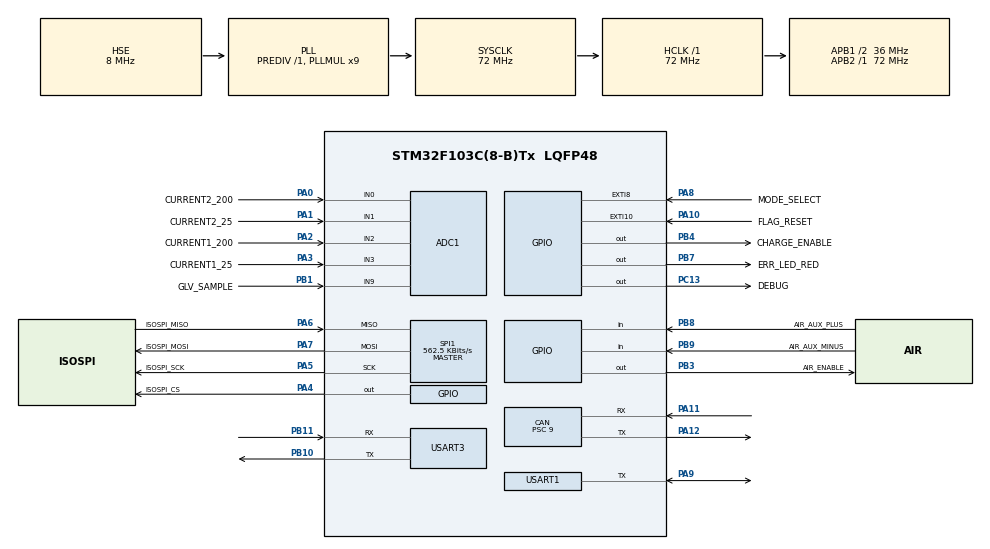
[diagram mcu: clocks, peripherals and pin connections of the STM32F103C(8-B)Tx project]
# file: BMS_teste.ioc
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ADC1.Channel-10\#ChannelRegularConversion=ADC_CHANNEL_0
ADC1.Channel-11\#ChannelRegularConversion=ADC_CHANNEL_1
ADC1.Channel-12\#ChannelRegularConversion=ADC_CHANNEL_2
ADC1.Channel-13\#ChannelRegularConversion=ADC_CHANNEL_3
ADC1.Channel-14\#ChannelRegularConversion=ADC_CHANNEL_9
ADC1.ContinuousConvMode=ENABLE
ADC1.DataAlign=ADC_DATAALIGN_RIGHT
ADC1.DiscontinuousConvMode=DISABLE
ADC1.EnableAnalogWatchDog=false
ADC1.EnableRegularConversion=ENABLE
ADC1.ExternalTrigConv=ADC_SOFTWARE_START
ADC1.InjNumberOfConversion=0
ADC1.NbrOfConversion=5
ADC1.NbrOfConversionFlag=1
ADC1.Rank-10\#ChannelRegularConversion=1
ADC1.Rank-11\#ChannelRegularConversion=2
ADC1.Rank-12\#ChannelRegularConversion=3
ADC1.Rank-13\#ChannelRegularConversion=4
ADC1.Rank-14\#ChannelRegularConversion=5
ADC1.SamplingTime-10\#ChannelRegularConversion=ADC_SAMPLETIME_239CYCLES_5
ADC1.SamplingTime-11\#ChannelRegularConversion=ADC_SAMPLETIME_239CYCLES_5
ADC1.SamplingTime-12\#ChannelRegularConversion=ADC_SAMPLETIME_239CYCLES_5
ADC1.SamplingTime-13\#ChannelRegularConversion=ADC_SAMPLETIME_239CYCLES_5
ADC1.SamplingTime-14\#ChannelRegularConversion=ADC_SAMPLETIME_239CYCLES_5
ADC1.ScanConvMode=ADC_SCAN_ENABLE
ADC1.master=1
CAN.ABOM=ENABLE
CAN.BS1=CAN_BS1_6TQ
CAN.CalculateTimeBit=2000
CAN.CalculateTimeQuantum=250.0
CAN.Prescaler=9
CAN.SJW=CAN_SJW_1TQ
Dma.ADC1.0.Direction=DMA_PERIPH_TO_MEMORY
Dma.ADC1.0.Instance=DMA1_Channel1
Dma.ADC1.0.MemDataAlignment=DMA_MDATAALIGN_HALFWORD
Dma.ADC1.0.MemInc=DMA_MINC_ENABLE
Dma.ADC1.0.Mode=DMA_CIRCULAR
Dma.ADC1.0.PeriphDataAlignment=DMA_PDATAALIGN_HALFWORD
Dma.ADC1.0.PeriphInc=DMA_PINC_DISABLE
Dma.ADC1.0.Priority=DMA_PRIORITY_LOW
Dma.Request0=ADC1
Dma.Request1=USART3_RX
Dma.USART3_RX.1.Direction=DMA_PERIPH_TO_MEMORY
Dma.USART3_RX.1.Instance=DMA1_Channel3
Dma.USART3_RX.1.MemDataAlignment=DMA_MDATAALIGN_BYTE
Dma.USART3_RX.1.MemInc=DMA_MINC_ENABLE
Dma.USART3_RX.1.Mode=DMA_CIRCULAR
Dma.USART3_RX.1.PeriphDataAlignment=DMA_PDATAALIGN_BYTE
Dma.USART3_RX.1.PeriphInc=DMA_PINC_DISABLE
Dma.USART3_RX.1.Priority=DMA_PRIORITY_LOW
Mcu.Family=STM32F1
Mcu.Name=STM32F103C(8-B)Tx
Mcu.Package=LQFP48
Mcu.UserConstants=__DLC__,8
NVIC.DMA1_Channel1_IRQn=true\:0\:0\:false\:false\:true\:false
NVIC.DMA1_Channel3_IRQn=true\:0\:0\:false\:false\:true\:false
NVIC.EXTI15_10_IRQn=true\:0\:0\:false\:false\:true\:true
NVIC.EXTI9_5_IRQn=true\:0\:0\:false\:false\:true\:true
NVIC.PriorityGroup=NVIC_PRIORITYGROUP_4
NVIC.TIM3_IRQn=true\:0\:0\:false\:false\:true\:true
NVIC.TIM4_IRQn=true\:0\:0\:false\:false\:true\:true
NVIC.USART3_IRQn=true\:0\:0\:false\:false\:true\:true
NVIC.USB_HP_CAN1_TX_IRQn=true\:0\:0\:false\:false\:true\:true
NVIC.USB_LP_CAN1_RX0_IRQn=true\:0\:0\:false\:false\:true\:true
PA0-WKUP.GPIO_Label=CURRENT2_200
PA0-WKUP.Signal=ADCx_IN0
PA1.GPIO_Label=CURRENT2_25
PA1.Signal=ADCx_IN1
PA10.GPIO_Label=FLAG_RESET
PA10.Signal=GPXTI10
PA11.Mode=Master
PA11.Signal=CAN_RX
PA12.Mode=Master
PA12.Signal=CAN_TX
PA13.Mode=Serial_Wire
PA13.Signal=SYS_JTMS-SWDIO
PA14.Mode=Serial_Wire
PA14.Signal=SYS_JTCK-SWCLK
PA2.GPIO_Label=CURRENT1_200
PA2.Signal=ADCx_IN2
PA3.GPIO_Label=CURRENT1_25
PA3.Signal=ADCx_IN3
PA4.GPIO_Label=ISOSPI_CS
PA4.GPIO_ModeDefaultOutputPP=GPIO_MODE_OUTPUT_PP
PA4.GPIO_Speed=GPIO_SPEED_FREQ_LOW
PA4.PinState=GPIO_PIN_RESET
PA4.Signal=GPIO_Output
PA5.GPIO_Label=ISOSPI_SCK
PA5.Mode=Full_Duplex_Master
PA5.Signal=SPI1_SCK
PA6.GPIO_Label=ISOSPI_MISO
PA6.GPIO_PuPd=GPIO_NOPULL
PA6.Mode=Full_Duplex_Master
PA6.Signal=SPI1_MISO
PA7.GPIO_Label=ISOSPI_MOSI
PA7.Mode=Full_Duplex_Master
PA7.Signal=SPI1_MOSI
PA8.GPIO_Label=MODE_SELECT
PA8.Signal=GPXTI8
PA9.Mode=Half_duplex(single_wire_mode)
PA9.Signal=USART1_TX
PB1.GPIO_Label=GLV_SAMPLE
PB1.Signal=ADCx_IN9
PB10.Mode=Asynchronous
PB10.Signal=USART3_TX
PB11.Mode=Asynchronous
PB11.Signal=USART3_RX
PB3.GPIO_Label=AIR_ENABLE
PB3.Signal=GPIO_Output
PB4.GPIO_Label=CHARGE_ENABLE
PB4.Signal=GPIO_Output
PB7.GPIO_Label=ERR_LED_RED
PB7.Signal=GPIO_Output
PB8.GPIO_Label=AIR_AUX_PLUS
PB8.Signal=GPIO_Input
PB9.GPIO_Label=AIR_AUX_MINUS
PB9.Signal=GPIO_Input
PC13-TAMPER-RTC.GPIO_Label=DEBUG
PC13-TAMPER-RTC.Signal=GPIO_Output
PD0-OSC_IN.GPIO_Label=OSCI
PD0-OSC_IN.Mode=HSE-External-Oscillator
PD0-OSC_IN.Signal=RCC_OSC_IN
PD1-OSC_OUT.GPIO_Label=OSCO
PD1-OSC_OUT.Mode=HSE-External-Oscillator
PD1-OSC_OUT.Signal=RCC_OSC_OUT
ProjectManager.HeapSize=0x200
ProjectManager.StackSize=0x400
ProjectManager.TargetToolchain=SW4STM32
RCC.ADCPresc=RCC_ADCPCLK2_DIV6
RCC.AHBFreq_Value=72000000
RCC.APB1CLKDivider=RCC_HCLK_DIV2
RCC.APB1Freq_Value=36000000
RCC.APB1TimFreq_Value=72000000
RCC.APB2Freq_Value=72000000
RCC.APB2TimFreq_Value=72000000
RCC.HCLKFreq_Value=72000000
RCC.PLLMUL=RCC_PLL_MUL9
RCC.PLLSourceVirtual=RCC_PLLSOURCE_HSE
RCC.SYSCLKFreq_VALUE=72000000
RCC.SYSCLKSource=RCC_SYSCLKSOURCE_PLLCLK
RCC.USBFreq_Value=72000000
SH.ADCx_IN0.0=ADC2_IN0
SH.ADCx_IN0.1=ADC1_IN0,IN0
SH.ADCx_IN1.0=ADC2_IN1
SH.ADCx_IN1.1=ADC1_IN1,IN1
SH.ADCx_IN2.0=ADC1_IN2,IN2
SH.ADCx_IN3.0=ADC1_IN3,IN3
SH.ADCx_IN9.0=ADC1_IN9,IN9
SPI1.BaudRatePrescaler=SPI_BAUDRATEPRESCALER_128
SPI1.CalculateBaudRate=562.5 KBits/s
SPI1.DataSize=SPI_DATASIZE_16BIT
SPI1.Direction=SPI_DIRECTION_2LINES
SPI1.Mode=SPI_MODE_MASTER
SPI1.VirtualType=VM_MASTER
TIM3.Period=5000
TIM3.Prescaler=7200
TIM4.Period=100
TIM4.Prescaler=720
USART1.VirtualMode=VM_ASYNC
USART3.VirtualMode=VM_ASYNC
VP_TIM3_VS_ClockSourceINT.Mode=Internal
VP_TIM4_VS_ClockSourceINT.Mode=Internal
board=BMS_2018

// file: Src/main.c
/**
  ******************************************************************************
  * @file           : main.c
  * @brief          : Main program body
  ******************************************************************************
  ** This notice applies to any and all portions of this file
  * that are not between comment pairs USER CODE BEGIN and
  * USER CODE END. Other portions of this file, whether
  * inserted by the user or by software development tools
  * are owned by their respective copyright owners.
  *
  * COPYRIGHT(c) 2019 STMicroelectronics
  *
  * Redistribution and use in source and binary forms, with or without modification,
  * are permitted provided that the following conditions are met:
  *   1. Redistributions of source code must retain the above copyright notice,
  *      this list of conditions and the following disclaimer.
  *   2. Redistributions in binary form must reproduce the above copyright notice,
  *      this list of conditions and the following disclaimer in the documentation
  *      and/or other materials provided with the distribution.
  *   3. Neither the name of STMicroelectronics nor the names of its contributors
  *      may be used to endorse or promote products derived from this software
  *      without specific prior written permission.
  *
  * THIS SOFTWARE IS PROVIDED BY THE COPYRIGHT HOLDERS AND CONTRIBUTORS "AS IS"
  * AND ANY EXPRESS OR IMPLIED WARRANTIES, INCLUDING, BUT NOT LIMITED TO, THE
  * IMPLIED WARRANTIES OF MERCHANTABILITY AND FITNESS FOR A PARTICULAR PURPOSE ARE
  * DISCLAIMED. IN NO EVENT SHALL THE COPYRIGHT HOLDER OR CONTRIBUTORS BE LIABLE
  * FOR ANY DIRECT, INDIRECT, INCIDENTAL, SPECIAL, EXEMPLARY, OR CONSEQUENTIAL
  * DAMAGES (INCLUDING, BUT NOT LIMITED TO, PROCUREMENT OF SUBSTITUTE GOODS OR
  * SERVICES; LOSS OF USE, DATA, OR PROFITS; OR BUSINESS INTERRUPTION) HOWEVER
  * CAUSED AND ON ANY THEORY OF LIABILITY, WHETHER IN CONTRACT, STRICT LIABILITY,
  * OR TORT (INCLUDING NEGLIGENCE OR OTHERWISE) ARISING IN ANY WAY OUT OF THE USE
  * OF THIS SOFTWARE, EVEN IF ADVISED OF THE POSSIBILITY OF SUCH DAMAGE.
  *
  ******************************************************************************
  */
#include "main.h"
#include "stm32f1xx_hal.h"
#include "adc.h"
#include "can.h"
#include "dma.h"
#include "spi.h"
#include "tim.h"
#include "usart.h"
#include "gpio.h"

/* USER CODE BEGIN Includes */

#include "BMS.h"
#include "LED.h"
#include <stdlib.h>
#include "dwt_stm32_delay.h"
#include "eeprom.h"
#include "nextion.h"
#include "DMA_USART.h"
#include "nextion_functions.h"

/* USER CODE END Includes */

/* USER CODE BEGIN PV */
/* Private variables ---------------------------------------------------------*/

static float CURRENT_ZERO[4] = {1970, 1965, 1968, 1973};
static const float CURRENT_GAIN[4] = {11.7, 15.5, 11.7, 15.5};
ErrorStatus  HSEStartUpStatus;
HAL_StatusTypeDef FlashStatus;

BMS_struct BMS;
int16_t ADC_BUF[5];
uint32_t adc_time;
uint8_t mode_button = 0, debounce_flag, accept_flag, accept_time, debounce_time, mode;
uint16_t VirtAddVarTab[NumbOfVar] = {0x5555, 0x6666, 0x7777};
uint8_t c_zero_flag = 0;

/* USER CODE END PV */

void SystemClock_Config(void);

/* USER CODE BEGIN PFP */
/* Private function prototypes -----------------------------------------------*/

/* USER CODE END PFP */

/* USER CODE BEGIN 0 */

#define N_MEAN 2048

float filter(float mean, float new){
	return mean + (new - mean)/N_MEAN;
}

void HAL_ADC_ConvCpltCallback(ADC_HandleTypeDef* hadc)
{

	for(uint8_t i = 0; i < 4; i++){
		//UART_print("%d\n", BMS.current[i]);

		if (c_zero_flag)
			CURRENT_ZERO[i] = ADC_BUF[i];

		BMS.current[i] = filter(BMS.current[i], (float)(ADC_BUF[i] - CURRENT_ZERO[i]) *  CURRENT_GAIN[i]);
		//BMS.current[i] = (int16_t) filter(BMS.current[i], (float)(ADC_BUF[i] - CURRENT_ZERO[i]));
		//BMS.current[i] = (int16_t) (float)(ADC_BUF[i] - CURRENT_ZERO[i]) * CURRENT_GAIN[i];
		//BMS.current[i] = ADC_BUF[i];
		//UART_print("%d, ", BMS.current[i]);
	}
	c_zero_flag = 0;
	//UART_print("\n");
	BMS.GLV_voltage = (uint16_t)((float)ADC_BUF[4] * 4.85);

	//EE_WriteVariable(VirtAddVarTab[0], BMS.GLV_voltage);
	//
	//	for(uint8_t i = 0; i < 4; i++){
	//		//UART_print("%d\n", BMS.current[i]);
	//
	//		BMS.current[i] = filter(BMS.current[i], (float)(ADC_BUF[i] - CURRENT_ZERO[i]) *  CURRENT_GAIN[i]);
	//		//BMS.current[i] = (int16_t) filter(BMS.current[i], (float)(ADC_BUF[i] - CURRENT_ZERO[i]));
	//		//BMS.current[i] = (int16_t) (float)(ADC_BUF[i] - CURRENT_ZERO[i]) * CURRENT_GAIN[i];
	//		//BMS.current[i] = ADC_BUF[i];
	//		//UART_print("%d, ", BMS.current[i]);
	//	}
	//	//UART_print("\n");
	//	BMS.GLV_voltage = (uint16_t)((float)ADC_BUF[4] * 4.97);
	//
	//
	//	//EE_WriteVariable(VirtAddVarTab[0], BMS.GLV_voltage);
}

/* USER CODE END 0 */

int main(void)
{

  /* MCU Configuration----------------------------------------------------------*/

  /* Reset of all peripherals, Initializes the Flash interface and the Systick. */
  HAL_Init();

  /* USER CODE BEGIN Init */
  extern DMA_HandleTypeDef hdma_usart3_rx;
  /* USER CODE END Init */

  /* Configure the system clock */
  SystemClock_Config();

  /* Initialize all configured peripherals */
  MX_GPIO_Init();
  MX_DMA_Init();
  MX_ADC1_Init();
  MX_CAN_Init();
  MX_SPI1_Init();
  MX_TIM3_Init();
  MX_USART1_UART_Init();
  MX_TIM4_Init();
  MX_USART3_UART_Init();
  /* USER CODE BEGIN 2 */

	HAL_FLASH_Unlock();
	EE_Init();

	DWT_Delay_Init();
	HAL_ADC_Start_DMA(&hadc1, (uint32_t*)ADC_BUF, 5);
	HAL_TIM_Base_Start_IT(&htim3);
	HAL_TIM_Base_Start_IT(&htim4);

	USART_DMA_Init(&huart3, &hdma_usart3_rx);

	//init_c_sensor(BMS->currentsensor);

	//	BMS_mode_selector(&BMS);

	BMS.communication_mode = COMM_FULL;

//	if (HAL_GPIO_ReadPin(MODE_SELECT_GPIO_Port, MODE_SELECT_Pin) == 0) {
//		BMS.opperation_mode = OPP_CHARGING;
//		BMS.status = BMS_CHARGING;
//		LED_write(LED_BLUE);
//	}else if (HAL_GPIO_ReadPin(MODE_SELECT_GPIO_Port, MODE_SELECT_Pin) == 1){
//		BMS.opperation_mode = OPP_DEFAULT;
//		BMS.status = BMS_MONITORING;
//	}

	BMS.opperation_mode = OPP_CHARGING;

	BMS_init(&BMS);

	extern uint8_t comm_flag;

//	HAL_GPIO_WritePin(AIR_ENABLE_GPIO_Port, AIR_ENABLE_Pin, SET);

  /* USER CODE END 2 */

  /* Infinite loop */
  /* USER CODE BEGIN WHILE */
	while (1)
	{
		BMS_monitoring(&BMS);

		BMS_error(&BMS);

//		UART_print("%d	%d\n", BMS.sensor_v[0]->t_cell[0], BMS.sensor_v[0]->t_cell[2]);

		BMS_communication(&BMS);
//
//		nexLoop(&BMS);
//
//		testnexLoop(&BMS);

  /* USER CODE END WHILE */

	}

}

void SystemClock_Config(void)
{

  RCC_OscInitTypeDef RCC_OscInitStruct;
  RCC_ClkInitTypeDef RCC_ClkInitStruct;
  RCC_PeriphCLKInitTypeDef PeriphClkInit;

    /**Initializes the CPU, AHB and APB busses clocks
    */
  RCC_OscInitStruct.OscillatorType = RCC_OSCILLATORTYPE_HSE;
  RCC_OscInitStruct.HSEState = RCC_HSE_ON;
  RCC_OscInitStruct.HSEPredivValue = RCC_HSE_PREDIV_DIV1;
  RCC_OscInitStruct.HSIState = RCC_HSI_ON;
  RCC_OscInitStruct.PLL.PLLState = RCC_PLL_ON;
  RCC_OscInitStruct.PLL.PLLSource = RCC_PLLSOURCE_HSE;
  RCC_OscInitStruct.PLL.PLLMUL = RCC_PLL_MUL9;
  if (HAL_RCC_OscConfig(&RCC_OscInitStruct) != HAL_OK)
  {
    _Error_Handler(__FILE__, __LINE__);
  }

    /**Initializes the CPU, AHB and APB busses clocks
    */
  RCC_ClkInitStruct.ClockType = RCC_CLOCKTYPE_HCLK|RCC_CLOCKTYPE_SYSCLK
                              |RCC_CLOCKTYPE_PCLK1|RCC_CLOCKTYPE_PCLK2;
  RCC_ClkInitStruct.SYSCLKSource = RCC_SYSCLKSOURCE_PLLCLK;
  RCC_ClkInitStruct.AHBCLKDivider = RCC_SYSCLK_DIV1;
  RCC_ClkInitStruct.APB1CLKDivider = RCC_HCLK_DIV2;
  RCC_ClkInitStruct.APB2CLKDivider = RCC_HCLK_DIV1;

  if (HAL_RCC_ClockConfig(&RCC_ClkInitStruct, FLASH_LATENCY_2) != HAL_OK)
  {
    _Error_Handler(__FILE__, __LINE__);
  }

  PeriphClkInit.PeriphClockSelection = RCC_PERIPHCLK_ADC;
  PeriphClkInit.AdcClockSelection = RCC_ADCPCLK2_DIV6;
  if (HAL_RCCEx_PeriphCLKConfig(&PeriphClkInit) != HAL_OK)
  {
    _Error_Handler(__FILE__, __LINE__);
  }

    /**Configure the Systick interrupt time
    */
  HAL_SYSTICK_Config(HAL_RCC_GetHCLKFreq()/1000);

    /**Configure the Systick
    */
  HAL_SYSTICK_CLKSourceConfig(SYSTICK_CLKSOURCE_HCLK);

  /* SysTick_IRQn interrupt configuration */
  HAL_NVIC_SetPriority(SysTick_IRQn, 0, 0);
}

void _Error_Handler(char *file, int line)
{
	while(1)
	{
	}
}

/************************ (C) COPYRIGHT STMicroelectronics *****END OF FILE****/
